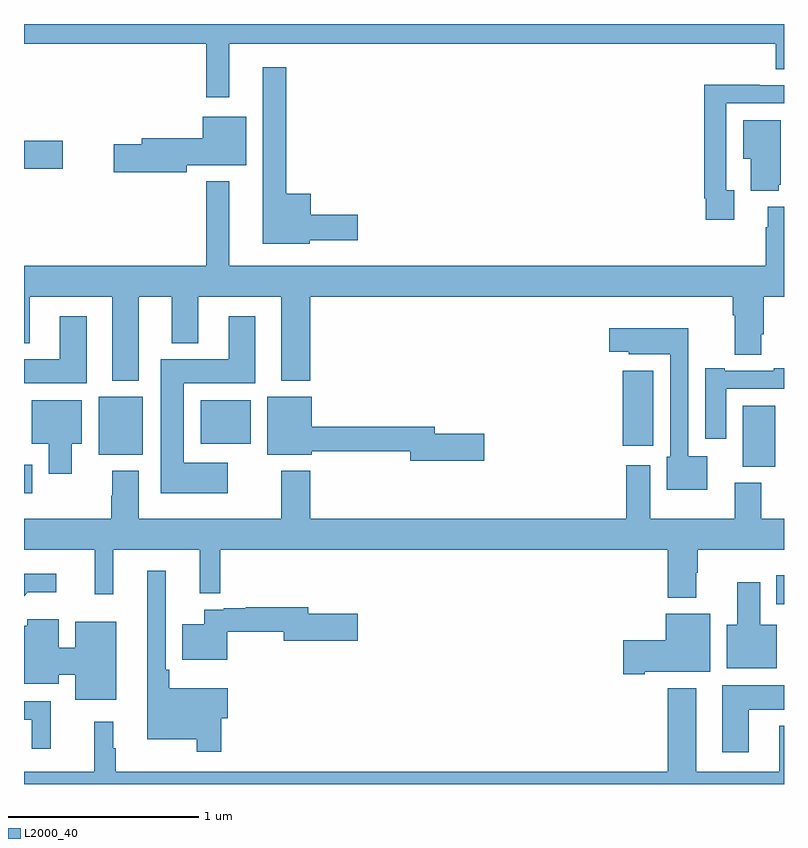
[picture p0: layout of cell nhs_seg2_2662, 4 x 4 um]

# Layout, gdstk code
import gdstk
lib = gdstk.Library(unit=1e-6, precision=1e-09)
def R(c, l, rs):  # rectangles x0, y0, x1, y1
    for r in rs: c.add(gdstk.rectangle(r[:2], r[2:], *l))
def P(c, l, *ps):  # polygons
    for p in ps: c.add(gdstk.Polygon(p, *l))
L2000_40 = (2000, 40)

nhs_seg2_2662 = lib.new_cell('nhs_seg2_2662')
R(nhs_seg2_2662, L2000_40, [(254.96,584.747,255,584.899), (251,585.329,251.044,585.481), (254.783,585.47,254.953,585.79), (251.393,585.533,251.626,585.838), (254.15,585.579,254.311,585.976), (251.93,585.59,252.193,585.82), (251,587.039,251.203,587.186)])
P(nhs_seg2_2662, L2000_40, [(252.079,587.696),(254.957,587.696),(254.957,587.563),(255,587.563),(255,587.8),(251,587.8),(251,587.696),(251.958,587.696),(251.958,587.415),(252.079,587.415)],
  [(252.504,586.661),(252.757,586.661),(252.757,586.796),(252.508,586.796),(252.508,586.906),(252.379,586.906),(252.379,587.572),(252.257,587.572),(252.257,586.643),(252.504,586.643)],
  [(254.737,586.926),(254.697,586.926),(254.697,587.382),(255,587.382),(255,587.478),(254.873,587.478),(254.873,587.48),(254.581,587.48),(254.581,586.882),(254.589,586.882),(254.589,586.77),(254.737,586.77)],
  [(251.856,587.057),(252.169,587.057),(252.169,587.311),(251.942,587.311),(251.942,587.198),(251.621,587.198),(251.621,587.168),(251.472,587.168),(251.472,587.021),(251.856,587.021)],
  [(254.972,586.953),(254.983,586.953),(254.983,587.293),(254.786,587.293),(254.786,587.09),(254.825,587.09),(254.825,586.922),(254.972,586.922)],
  [(251,586.121),(251.029,586.121),(251.029,586.364),(251.465,586.364),(251.465,585.923),(251.605,585.923),(251.605,586.364),(251.777,586.364),(251.777,586.121),(251.917,586.121),(251.917,586.364),(252.353,586.364),(252.353,585.923),(252.506,585.923),(252.506,586.364),(254.729,586.364),(254.729,586.268),(254.741,586.268),(254.741,586.06),(254.881,586.06),(254.881,586.168),(254.894,586.168),(254.894,586.364),(255,586.364),(255,586.837),(254.915,586.837),(254.915,586.73),(254.903,586.73),(254.903,586.528),(252.079,586.528),(252.079,586.972),(251.958,586.972),(251.958,586.528),(251,586.528)],
  [(251.329,586.261),(251.189,586.261),(251.189,586.036),(251,586.036),(251,585.908),(251.329,585.908)],
  [(252.073,585.49),(251.842,585.49),(251.842,585.908),(252.217,585.908),(252.217,586.261),(252.077,586.261),(252.077,586.036),(251.72,586.036),(251.72,585.329),(252.073,585.329)],
  [(254.596,585.526),(254.496,585.526),(254.496,586.198),(254.079,586.198),(254.079,586.076),(254.184,586.076),(254.184,586.061),(254.4,586.061),(254.4,585.522),(254.384,585.522),(254.384,585.35),(254.596,585.35)],
  [(254.695,585.879),(255,585.879),(255,585.988),(254.945,585.988),(254.945,585.975),(254.689,585.975),(254.689,585.988),(254.585,585.988),(254.585,585.618),(254.695,585.618)],
  [(253.423,585.644),(253.162,585.644),(253.162,585.68),(252.514,585.68),(252.514,585.838),(252.281,585.838),(252.281,585.533),(252.514,585.533),(252.514,585.552),(253.034,585.552),(253.034,585.502),(253.423,585.502)],
  [(251.251,585.59),(251.305,585.59),(251.305,585.82),(251.042,585.82),(251.042,585.59),(251.129,585.59),(251.129,585.432),(251.251,585.432)],
  [(254.539,584.912),(254.547,584.912),(254.547,585.032),(255,585.032),(255,585.196),(254.881,585.196),(254.881,585.385),(254.741,585.385),(254.741,585.196),(254.296,585.196),(254.296,585.478),(254.171,585.478),(254.171,585.196),(252.506,585.196),(252.506,585.448),(252.353,585.448),(252.353,585.196),(251.605,585.196),(251.605,585.448),(251.465,585.448),(251.465,585.317),(251.458,585.317),(251.458,585.196),(251,585.196),(251,585.032),(251.372,585.032),(251.372,584.799),(251.471,584.799),(251.471,585.032),(251.924,585.032),(251.924,584.803),(252.032,584.803),(252.032,585.032),(254.387,585.032),(254.387,584.78),(254.539,584.78)],
  [(252.038,584.147),(252.073,584.147),(252.073,584.305),(251.765,584.305),(251.765,584.401),(251.745,584.401),(251.745,584.923),(251.648,584.923),(251.648,584.036),(251.91,584.036),(251.91,583.971),(252.038,583.971)],
  [(251.021,584.81),(251.17,584.81),(251.17,584.907),(251,584.907),(251,584.789)],
  [(254.962,584.638),(254.875,584.638),(254.875,584.863),(254.753,584.863),(254.753,584.638),(254.699,584.638),(254.699,584.408),(254.962,584.408)],
  [(252.07,584.602),(252.368,584.602),(252.368,584.555),(252.757,584.555),(252.757,584.697),(252.496,584.697),(252.496,584.731),(252.166,584.731),(252.166,584.724),(252.052,584.724),(252.052,584.718),(251.948,584.718),(251.948,584.641),(251.834,584.641),(251.834,584.453),(252.07,584.453)],
  [(254.266,584.39),(254.611,584.39),(254.611,584.695),(254.378,584.695),(254.378,584.556),(254.154,584.556),(254.154,584.378),(254.266,584.378)],
  [(251.485,584.653),(251.27,584.653),(251.27,584.517),(251.182,584.517),(251.182,584.668),(251.016,584.668),(251.016,584.632),(251,584.632),(251,584.327),(251.182,584.327),(251.182,584.375),(251.27,584.375),(251.27,584.243),(251.485,584.243)],
  [(254.815,584.192),(255,584.192),(255,584.32),(254.675,584.32),(254.675,583.968),(254.815,583.968)],
  [(255,584.107),(254.975,584.107),(254.975,583.864),(254.539,583.864),(254.539,584.305),(254.387,584.305),(254.387,583.864),(251.482,583.864),(251.482,583.988),(251.47,583.988),(251.47,584.128),(251.371,584.128),(251.371,583.864),(251,583.864),(251,583.8),(255,583.8)],
  [(251.142,584.235),(251,584.235),(251,584.139),(251.042,584.139),(251.042,583.986),(251.142,583.986)])

lib.write_gds('nhs_seg2_2662.gds')
